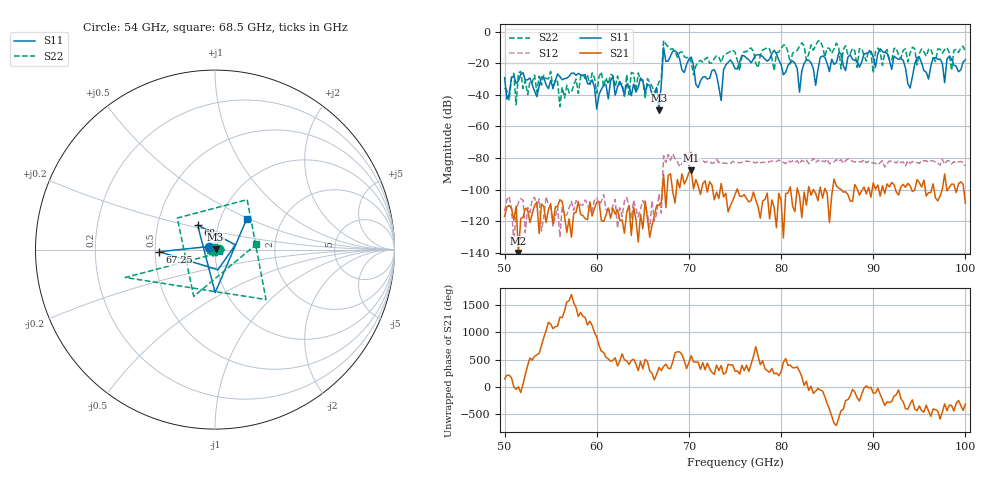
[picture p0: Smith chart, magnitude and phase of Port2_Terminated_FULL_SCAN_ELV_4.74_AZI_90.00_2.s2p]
! 11/25/2026 1:39:54 PM
! C:\ANRITSUVNA\TEMP\TEMP.S2P
! CHANNEL.1
! TR.MEASUREMENT
! RAW.DATA
# HZ S RI R 50.0
! FREQ.HZ  S11RE  S11IM  S21RE  S21IM  S12RE  S12IM  S22RE  S22IM
!; PortSelection: Port_12
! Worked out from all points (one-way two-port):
!   201 points, 50 GHz to 100 GHz, reference 50 ohm
!   highest |S21| = -87.67 dB at 70.25 GHz (marker M1); lowest = -140.0 dB at 51.5 GHz (marker M2)
!   lowest |S11| = -49.8 dB at 66.75 GHz (marker M3), VSWR 1.01, Z = 50.3 + j0.0726 ohm
!   |S11| at or under -10 dB: start of sweep to end of sweep
!   |S22| runs from -47.5 to -5.6 dB; largest |S21 - S12| = 0.00019
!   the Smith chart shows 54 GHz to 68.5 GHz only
!   S11 on the Smith chart (normalised r, x): 54 GHz: 0.93, +0.03; 67.25 GHz: 0.53, -0.01; 68 GHz: 0.80, +0.22; 68.5 GHz: 1.33, +0.49
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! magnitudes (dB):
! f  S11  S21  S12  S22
! 50 GHz  -29.1  -116.8  -113.5  -35.6
! 51 GHz  -27.9  -119.2  -133.0  -26.4
! 51.25 GHz  -32.7  -110.3  -114.0  -46.2
! 51.5 GHz  -31.2  -140.0  -108.0  -26.0
! 54 GHz  -28.7  -109.0  -126.0  -33.8
! 56 GHz  -28.5  -106.2  -130.0  -47.5
! 58.5 GHz  -27.7  -116.3  -109.7  -26.9
! 60 GHz  -49.1  -107.9  -105.0  -38.9
! 61.75 GHz  -28.4  -111.8  -110.1  -27.6
! 66.75 GHz  -49.8  -109.6  -102.5  -31.9
! 67.25 GHz  -10.2  -90.4  -78.4  -5.6
! 68 GHz  -15.5  -89.9  -81.3  -11.2
! 68.5 GHz  -12.1  -108.4  -80.4  -12.7
! 70.25 GHz  -16.1  -87.7  -76.2  -19.2
! 73.5 GHz  -43.6  -95.9  -82.5  -19.6
! 73.75 GHz  -24.3  -104.5  -83.2  -15.3
! 75 GHz  -23.4  -103.2  -82.6  -13.1
! 83.5 GHz  -23.3  -99.8  -80.2  -11.7
! 91.75 GHz  -18.1  -98.2  -81.8  -17.5
! 94 GHz  -35.7  -97.5  -83.2  -13.7
! 94.75 GHz  -16.5  -93.5  -82.7  -21.1
! 100 GHz  -17.8  -108.4  -84.9  -12.9
